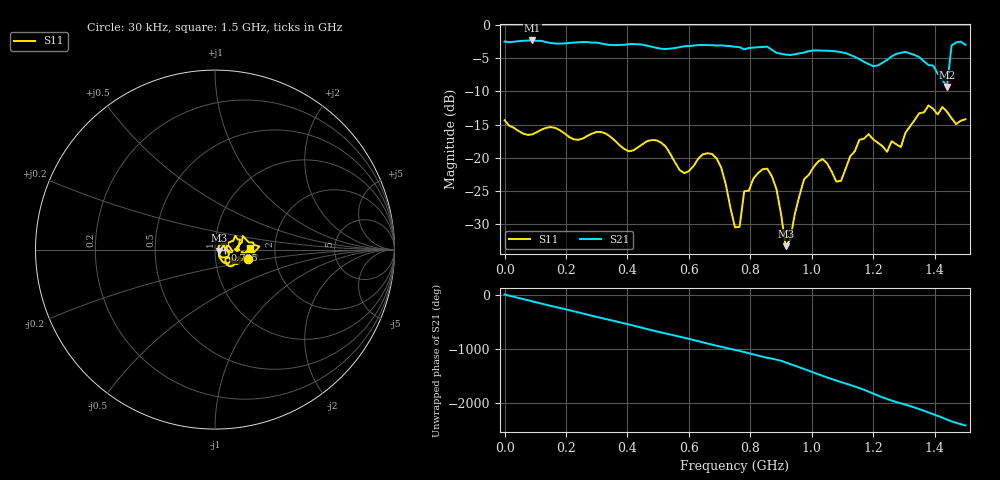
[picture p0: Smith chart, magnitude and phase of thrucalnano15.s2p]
# HZ S RI R 50
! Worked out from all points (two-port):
!   101 points, 30 kHz to 1.5 GHz, reference 50 ohm
!   highest |S21| = -2.35 dB at 90.03 MHz (marker M1); lowest = -9.3 dB at 1.44 GHz (marker M2)
!   |S21| within 3 dB of the highest: start of sweep to 1.162 GHz; 1.242 GHz to 1.362 GHz (119.5 MHz wide, 9.18 % of centre)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
!   lowest |S11| = -33.3 dB at 915 MHz (marker M3), VSWR 1.04, Z = 52.1 - j0.594 ohm
!   |S11| at or under -10 dB: start of sweep to end of sweep
!   S12 and S22 are empty: the file has one direction only
!   S11 on the Smith chart (normalised r, x): 30 kHz: 1.44, -0.16; 795 MHz: 1.12, -0.00; 1.5 GHz: 1.48, +0.02
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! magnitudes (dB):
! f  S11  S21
! 30 kHz  -14.4  -2.5
! 90.03 MHz  -16.5  -2.4
! 255 MHz  -17.1  -2.6
! 510 MHz  -17.7  -3.6
! 585 MHz  -22.3  -3.2
! 690 MHz  -20.1  -3.1
! 750 MHz  -30.5  -3.3
! 795 MHz  -24.9  -3.5
! 855 MHz  -21.6  -3.3
! 885 MHz  -24.7  -4.2
! 915 MHz  -33.3  -4.5
! 975 MHz  -23.2  -4.2
! 1.005 GHz  -21.4  -3.9
! 1.035 GHz  -20.2  -3.9
! 1.095 GHz  -23.5  -4.1
! 1.155 GHz  -17.3  -5.2
! 1.26 GHz  -17.5  -4.8
! 1.29 GHz  -18.4  -4.2
! 1.38 GHz  -12.1  -6.0
! 1.44 GHz  -13.1  -9.3
! 1.455 GHz  -14.1  -3.1
! 1.5 GHz  -14.2  -3.0
